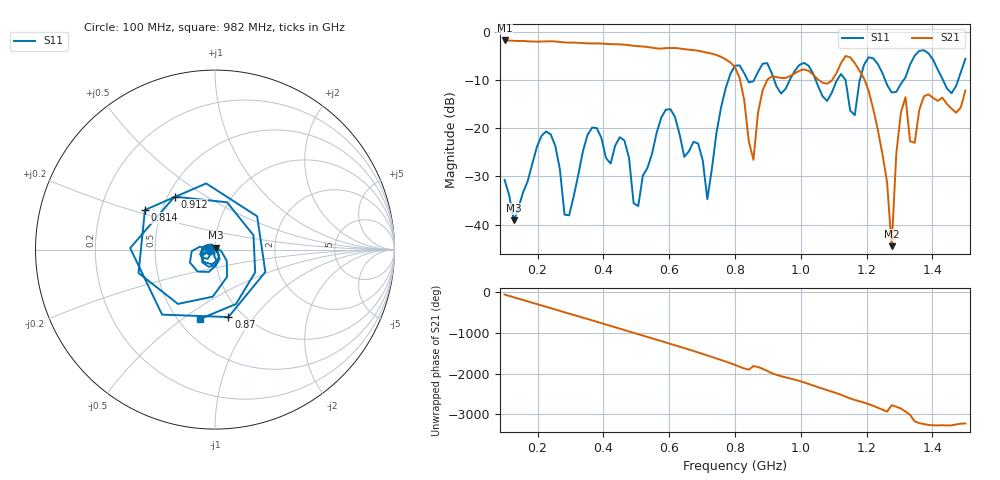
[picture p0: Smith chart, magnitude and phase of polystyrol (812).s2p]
! NanoVNA-App
! Date: 2025-09-25 15:36:12
! Start: 100MHz Stop: 1,5GHz Points: 101
! S-Parameter data: F S11 S21 S12 S22
# Hz S RI R 50
!  Frequency  S11_Real  S11_Imag  S21_Real  S21_Imag  S12_Real  S12_Imag  S22_Real  S22_Imag
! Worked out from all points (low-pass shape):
!   101 points, 100 MHz to 1.5 GHz, reference 50 ohm
!   highest |S21| = -1.80 dB at 100 MHz (marker M1); lowest = -44.5 dB at 1.276 GHz (marker M2)
!   |S21| within 3 dB of the highest: start of sweep to 743.2 MHz
!   lowest |S11| = -39.1 dB at 128 MHz (marker M3), VSWR 1.02, Z = 50.3 + j1.06 ohm
!   |S11| at or under -10 dB: start of sweep to 779.8 MHz; 1.045 GHz to 1.11 GHz (65.2 MHz wide, 6.05 % of centre); 1.136 GHz to 1.179 GHz (43.38 MHz wide, 3.75 % of centre) (the widest 3 of 7)
!   S12 and S22 are empty: the file has one direction only
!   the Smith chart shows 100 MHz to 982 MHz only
!   S11 on the Smith chart (normalised r, x): 100 MHz: 0.94, -0.01; 814 MHz: 0.40, +0.22; 870 MHz: 0.86, -0.75; 912 MHz: 0.54, +0.37; 982 MHz: 0.64, -0.58
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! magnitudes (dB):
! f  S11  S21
! 100 MHz  -30.7  -1.8
! 128 MHz  -39.1  -1.9
! 212 MHz  -21.6  -2.0
! 282 MHz  -37.9  -2.2
! 338 MHz  -24.7  -2.3
! 464 MHz  -22.6  -2.7
! 506 MHz  -36.1  -3.0
! 576 MHz  -17.8  -3.5
! 716 MHz  -34.7  -4.3
! 800 MHz  -7.0  -7.3
! 814 MHz  -7.0  -9.6
! 856 MHz  -10.3  -26.6
! 870 MHz  -8.3  -16.8
! 912 MHz  -8.6  -9.2
! 982 MHz  -8.1  -8.6
! 1.038 GHz  -8.8  -8.9
! 1.164 GHz  -17.3  -6.5
! 1.192 GHz  -6.8  -9.7
! 1.276 GHz  -12.6  -44.5
! 1.318 GHz  -9.4  -13.5
! 1.346 GHz  -5.0  -23.0
! 1.5 GHz  -5.6  -12.2
